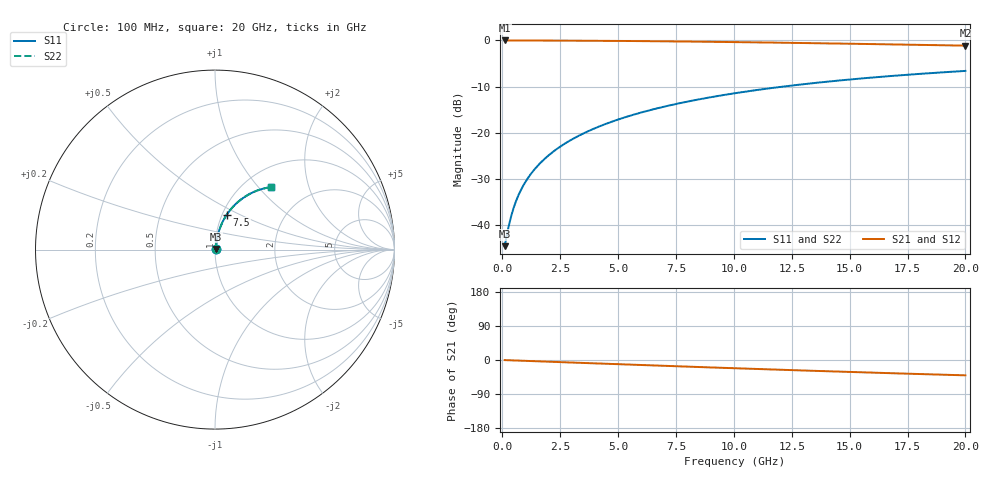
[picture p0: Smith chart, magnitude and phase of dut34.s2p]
! Touchstone file exported from HFSS 2026.1.0
!  File:  C:/ffzhzh/LocalFiles/Ansys_Project_Files/temp_train_TMRDL_34_1782880572_13352.aedt
!  Generated:  12:37:30 PM Jul  1, 2026
!  Design:  TMRDL
!  Project:  temp_train_TMRDL_34_1782880572_13352
! Variables:
!  h_bsmrdl = 2um
!  h_ox = 20um
!  h_rdl = 5um
!  h_sub = 80um
!  h_tmrdl = 2.05um
!  h_tsv = 80um
!  h_via = 3um
!  l_bsmrdl = 300um
!  l_sub = 894.41um
!  l_tmrdl = 494.41um
!  m_sub = 200um
!  pitch = 58.57um
!  r_tsv = 6um
!  s_tmrdl = 10um
!  w_bsmrdl = 18um
!  w_sub = 500um
!  w_tmrdl = 17.47um
!  x_tsv_center1 = 503.145um
!  x_tsv_center2 = 821.145um
!  x_tsv_center3 = 1333.025um
!  x_tsv_center4 = 1651.025um
!  x_tsv_center5 = 2162.905um
!  x_tsv_center6 = 2480.905um
# GHz S MA R 50.000000
! Terminal data exported
! Port[1] = TM_RDL1_1_T1
! Port[2] = TM_RDL1_1_T2
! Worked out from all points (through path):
!   200 points, 100 MHz to 20 GHz, reference 50 ohm
!   highest |S21| = -0.04 dB at 100 MHz (marker M1); lowest = -1.2 dB at 20 GHz (marker M2)
!   group delay of S21, straight-line fit = 5.65 ps
!   lowest |S11| = -44.5 dB at 100 MHz (marker M3), VSWR 1.01, Z = 50.5 + j0.3 ohm
!   |S11| at or under -10 dB: start of sweep to 12.15 GHz
!   |S22| runs from -44.5 to -6.6 dB; largest |S21 - S12| = 2.5e-15
!   S11 on the Smith chart (normalised r, x): 100 MHz: 1.01, +0.01; 7.5 GHz: 1.05, +0.43; 20 GHz: 1.31, +1.17
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0.1  0.005952 29.9  0.9948 -0.2  0.9948 -0.2  0.005952 29.9
! Gamma 0 0 0 0
! Port Impedance 50 0 50 0
0.3  0.01036 58.6  0.9947 -0.7  0.9947 -0.7  0.01036 58.6
0.4  0.013 64.5  0.9945 -0.9  0.9945 -0.9  0.013 64.5
0.5  0.01571 68.3  0.9944 -1.2  0.9944 -1.2  0.01571 68.3
0.6  0.01845 70.9  0.9942 -1.4  0.9942 -1.4  0.01845 70.9
0.8  0.02396 74.1  0.9939 -1.8  0.9939 -1.8  0.02396 74.1
1.1  0.03221 76.7  0.9934 -2.5  0.9934 -2.5  0.03221 76.7
1.5  0.04323 78.3  0.9928 -3.4  0.9928 -3.4  0.04323 78.3
1.8  0.0515 78.8  0.9923 -4.0  0.9923 -4.0  0.0515 78.8
2.1  0.05978 79.1  0.9918 -4.7  0.9918 -4.7  0.05978 79.1
2.7  0.07633 79.0  0.9905 -6.0  0.9905 -6.0  0.07633 79.0
3.5  0.09831 78.3  0.9885 -7.8  0.9885 -7.8  0.09831 78.3
4.2  0.1174 77.3  0.9863 -9.3  0.9863 -9.3  0.1174 77.3
5  0.139 76.0  0.9833 -11.1  0.9833 -11.1  0.139 76.0
5.9  0.163 74.4  0.9795 -13.0  0.9795 -13.0  0.163 74.4
6.8  0.1866 72.8  0.9751 -15.0  0.9751 -15.0  0.1866 72.8
7.5  0.2047 71.4  0.9714 -16.5  0.9714 -16.5  0.2047 71.4
8.7  0.2349 69.1  0.9643 -19.0  0.9643 -19.0  0.2349 69.1
10.1  0.2689 66.4  0.9551 -21.9  0.9551 -21.9  0.2689 66.4
13.4  0.3434 60.0  0.9304 -28.5  0.9304 -28.5  0.3434 60.1
16.7  0.4092 54.0  0.903 -34.7  0.903 -34.7  0.4092 54.0
20  0.4663 48.3  0.8746 -40.5  0.8746 -40.5  0.4663 48.3
